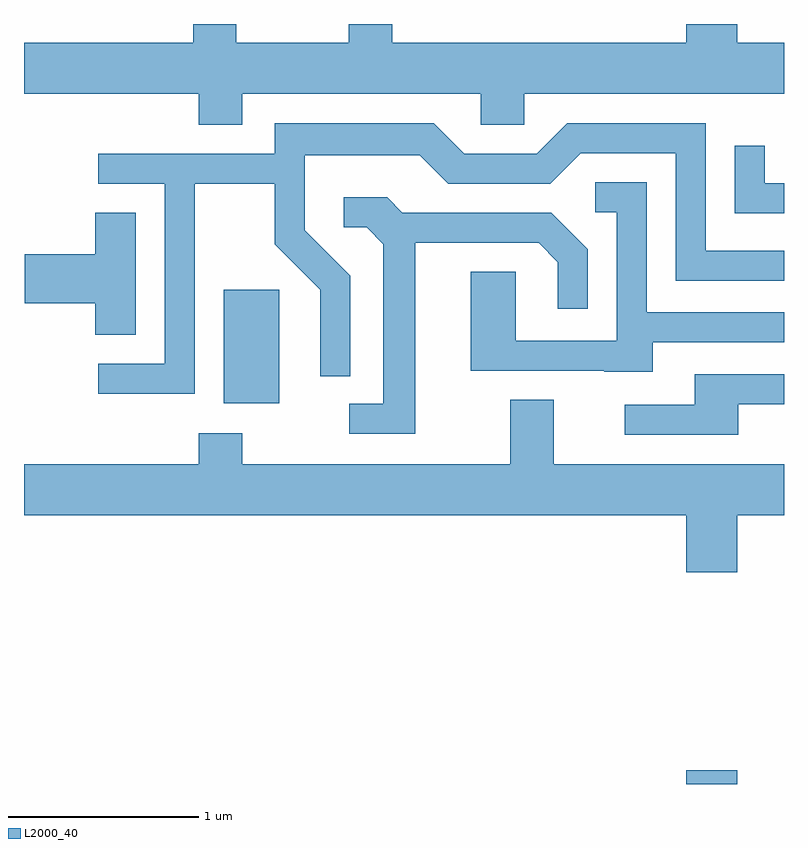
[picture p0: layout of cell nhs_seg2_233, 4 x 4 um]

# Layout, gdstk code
import gdstk
lib = gdstk.Library(unit=1e-6, precision=1e-09)
def R(c, l, rs):  # rectangles x0, y0, x1, y1
    for r in rs: c.add(gdstk.rectangle(r[:2], r[2:], *l))
def P(c, l, *ps):  # polygons
    for p in ps: c.add(gdstk.Polygon(p, *l))
L2000_40 = (2000, 40)

nhs_seg2_233 = lib.new_cell('nhs_seg2_233')
R(nhs_seg2_233, L2000_40, [(195.096,1035.802,195.364,1035.874), (192.661,1037.806,192.954,1038.404)])
P(nhs_seg2_233, L2000_40, [(192.759,1039.436),(194.016,1039.436),(194.016,1039.271),(194.244,1039.271),(194.244,1039.436),(195.611,1039.436),(195.611,1039.704),(195.364,1039.704),(195.364,1039.802),(195.096,1039.802),(195.096,1039.704),(193.549,1039.704),(193.549,1039.802),(193.321,1039.802),(193.321,1039.704),(192.729,1039.704),(192.729,1039.802),(192.501,1039.802),(192.501,1039.704),(191.611,1039.704),(191.611,1039.436),(192.531,1039.436),(192.531,1039.271),(192.759,1039.271)],
  [(192.509,1038.961),(192.931,1038.961),(192.931,1038.644),(193.171,1038.404),(193.171,1037.948),(193.329,1037.948),(193.329,1038.477),(193.089,1038.717),(193.089,1039.111),(193.694,1039.111),(193.844,1038.961),(194.382,1038.961),(194.542,1039.121),(195.041,1039.121),(195.041,1038.451),(195.611,1038.451),(195.611,1038.609),(195.199,1038.609),(195.199,1039.279),(194.469,1039.279),(194.309,1039.119),(193.927,1039.119),(193.767,1039.279),(192.931,1039.279),(192.931,1039.119),(192.003,1039.119),(192.003,1038.961),(192.351,1038.961),(192.351,1038.014),(192.003,1038.014),(192.003,1037.856),(192.509,1037.856)],
  [(195.611,1038.964),(195.509,1038.964),(195.509,1039.162),(195.351,1039.162),(195.351,1038.806),(195.611,1038.806)],
  [(194.919,1038.126),(195.611,1038.126),(195.611,1038.284),(194.889,1038.284),(194.889,1038.969),(194.618,1038.969),(194.618,1038.811),(194.731,1038.811),(194.731,1038.134),(194.199,1038.134),(194.199,1038.499),(193.961,1038.499),(193.961,1037.976),(194.665,1037.976),(194.665,1037.971),(194.919,1037.971)],
  [(193.669,1038.651),(194.319,1038.651),(194.421,1038.549),(194.421,1038.303),(194.579,1038.303),(194.579,1038.617),(194.387,1038.809),(193.602,1038.809),(193.522,1038.889),(193.293,1038.889),(193.293,1038.731),(193.414,1038.731),(193.501,1038.644),(193.501,1037.804),(193.323,1037.804),(193.323,1037.646),(193.669,1037.646)],
  [(192.199,1038.809),(191.986,1038.809),(191.986,1038.589),(191.616,1038.589),(191.616,1038.331),(191.986,1038.331),(191.986,1038.166),(192.199,1038.166)],
  [(195.369,1037.801),(195.611,1037.801),(195.611,1037.959),(195.141,1037.959),(195.141,1037.799),(194.773,1037.799),(194.773,1037.641),(195.369,1037.641)],
  [(195.364,1037.216),(195.611,1037.216),(195.611,1037.484),(194.399,1037.484),(194.399,1037.824),(194.171,1037.824),(194.171,1037.484),(192.759,1037.484),(192.759,1037.649),(192.531,1037.649),(192.531,1037.484),(191.611,1037.484),(191.611,1037.216),(195.096,1037.216),(195.096,1036.916),(195.364,1036.916)])

lib.write_gds('nhs_seg2_233.gds')
